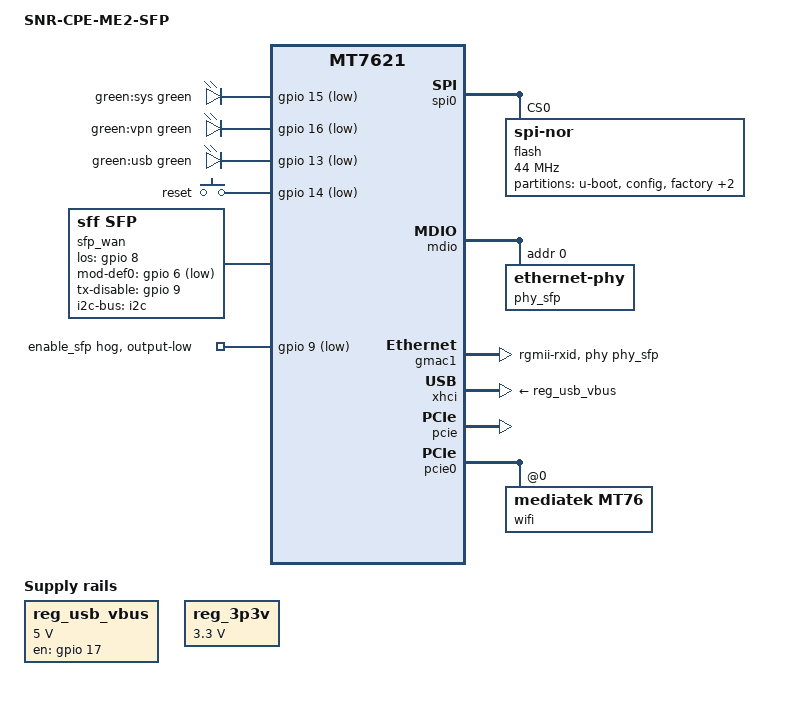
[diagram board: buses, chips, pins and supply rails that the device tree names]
// SPDX-License-Identifier: GPL-2.0-or-later OR MIT
#include "mt7621.dtsi"

#include <dt-bindings/gpio/gpio.h>
#include <dt-bindings/input/input.h>
#include <dt-bindings/leds/common.h>

/ {
	compatible = "snr,snr-cpe-me2-sfp", "mediatek,mt7621-soc";
	model = "SNR-CPE-ME2-SFP";

	aliases {
		led-boot = &led_sys;
		led-failsafe = &led_sys;
		led-running = &led_sys;
		led-upgrade = &led_sys;
	};

	leds {
		compatible = "gpio-leds";

		led_sys: sys {
			label = "green:sys";
			color = <LED_COLOR_ID_GREEN>;
			function = LED_FUNCTION_STATUS;
			gpios = <&gpio 15 GPIO_ACTIVE_LOW>;
		};

		vpn {
			label = "green:vpn";
			color = <LED_COLOR_ID_GREEN>;
			function = LED_FUNCTION_STATUS;
			gpios = <&gpio 16 GPIO_ACTIVE_LOW>;
		};

		usb {
			label = "green:usb";
			color = <LED_COLOR_ID_GREEN>;
			function = LED_FUNCTION_USB;
			gpios = <&gpio 13 GPIO_ACTIVE_LOW>;
			trigger-sources = <&xhci_ehci_port1>;
			linux,default-trigger = "usbport";
		};
	};

	keys {
		compatible = "gpio-keys";

		reset {
			label = "reset";
			gpios = <&gpio 14 GPIO_ACTIVE_LOW>;
			linux,code = <KEY_RESTART>;
		};
	};

	sfp_wan: sfp0 {
		compatible = "sff,sfp";
		i2c-bus = <&i2c>;
		los-gpios = <&gpio 8 GPIO_ACTIVE_HIGH>;
		mod-def0-gpios = <&gpio 6 GPIO_ACTIVE_LOW>;
		tx-disable-gpios = <&gpio 9 GPIO_ACTIVE_HIGH>;
		maximum-power-milliwatt = <1000>;
	};

	reg_usb_vbus: regulator-usb {
		compatible = "regulator-fixed";
		regulator-name = "usb_vbus";
		regulator-min-microvolt = <5000000>;
		regulator-max-microvolt = <5000000>;
		gpio = <&gpio 17 GPIO_ACTIVE_HIGH>;
		enable-active-high;
	};

	reg_3p3v: regulator-3p3v {
		compatible = "regulator-fixed";
		regulator-name = "fixed-3.3V";
		regulator-min-microvolt = <3300000>;
		regulator-max-microvolt = <3300000>;
		regulator-boot-on;
		regulator-always-on;
	};
};

&state_default {
	gpio {
		groups = "uart2", "uart3", "jtag";
		function = "gpio";
	};
};

&spi0 {
	status = "okay";

	flash@0 { // GD25Q127CSIG
		compatible = "jedec,spi-nor";
		reg = <0>;
		spi-max-frequency = <44000000>;

		partitions {
			compatible = "fixed-partitions";
			#address-cells = <1>;
			#size-cells = <1>;

			partition@0 {
				label = "u-boot";
				reg = <0x0 0x30000>;
				read-only;
			};

			partition@30000 {
				label = "config";
				reg = <0x30000 0x10000>;
			};

			factory: partition@40000 {
				label = "factory";
				reg = <0x40000 0x10000>;
				read-only;
			};

			partition@50000 {
				compatible = "denx,uimage";
				label = "firmware";
				reg = <0x50000 0xfb0000>;
			};

			partition@30001 {
				label = "uboot-env";
				reg = <0x30000 0x1000>;
			};
		};
	};
};

&gpio {
	// driver issue, bypass
	enable_sfp {
		gpio-hog;
		gpios = <9 GPIO_ACTIVE_LOW>;
		output-low;
	};
};

&mdio {
	phy_sfp: ethernet-phy@0 {
		reg = <0>;
		sfp = <&sfp_wan>;
	};
};

&gmac0 {
	nvmem-cells = <&macaddr_factory_e000>;
	nvmem-cell-names = "mac-address";
};

&gmac1 {
	status = "okay";
	label = "wan";
	phy-mode = "rgmii-rxid";
	phy-handle = <&phy_sfp>;

	nvmem-cells = <&macaddr_factory_e006>;
	nvmem-cell-names = "mac-address";
};

&switch0 {
	ports {
		port@1 {
			status = "okay";
			label = "lan1";
		};

		port@2 {
			status = "okay";
			label = "lan2";
		};

		port@3 {
			status = "okay";
			label = "lan3";
		};

		port@4 {
			status = "okay";
			label = "lan4";
		};
	};
};

&xhci {
	vusb33-supply = <&reg_3p3v>;
	vbus-supply = <&reg_usb_vbus>;
};

&pcie {
	status = "okay";
};

&pcie0 {
	wifi@0,0 {
		compatible = "mediatek,mt76";
		reg = <0x0000 0 0 0 0>;
		mediatek,mtd-eeprom = <&factory 0x0000>;
	};
};

&factory {
	compatible = "nvmem-cells";
	#address-cells = <1>;
	#size-cells = <1>;

	macaddr_factory_e000: macaddr@e000 {
		reg = <0xe000 0x6>;
	};

	macaddr_factory_e006: macaddr@e006 {
		reg = <0xe006 0x6>;
	};
};
